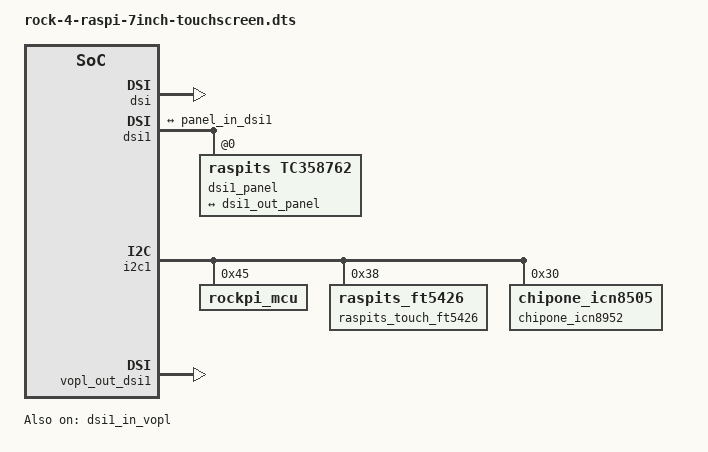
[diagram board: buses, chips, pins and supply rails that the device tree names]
/dts-v1/;
/plugin/;

/ {
	metadata {
		title = "Enable Raspberry Pi 7-inch Touchscreen";
		compatible = "radxa,rockpi4a", "radxa,rockpi4b", "radxa,rockpi4c", "radxa,rockpi4a-plus", "radxa,rockpi4b-plus", "radxa,rock-4se";
		category = "display";
		exclusive = "dsi1";
		description = "Enable Raspberry Pi 7-inch Touchscreen";
	};
};

&dsi {
	dsi1-only;
	status = "okay";
};

&dsi1 {
	rockchip,dsi-dsi0 = <&dsi>;
	status = "okay";
	#address-cells = <1>;
	#size-cells = <0>;
	rockchip,lane-rate = <696>;

	dsi1_panel: dsi-panel@0 {
		compatible = "raspits,tc358762";
		reg = <0x0>;
		status = "okay";

		display_timings0: display-timings {
			native-mode = <&dsi0_timing>;

			dsi0_timing: timing0 {
				clock-frequency = <26000000>;
				hactive = <800>;
				vactive = <480>;

				hsync-len = <5>;
				hback-porch = <40>;
				hfront-porch = <1>;

				vsync-len = <1>;
				vback-porch = <21>;
				vfront-porch = <7>;

				hsync-active = <0>;
				vsync-active = <0>;
				de-active = <0>;
				pixelclk-active = <0>;
			};
		};

		ports {
			#address-cells = <1>;
			#size-cells = <0>;

			port@0 {
				reg = <0>;
				panel_in_dsi1: endpoint {
					remote-endpoint = <&dsi1_out_panel>;
				};
			};
		};
	};

	ports {
		#address-cells = <1>;
		#size-cells = <0>;

		port@1 {
			reg = <1>;
			#address-cells = <1>;
			#size-cells = <0>;

			dsi1_out_panel: endpoint@0 {
				reg = <0>;
				remote-endpoint = <&panel_in_dsi1>;
			};
		};
	};
};

&i2c1 {
	status = "okay";
	#address-cells = <1>;
	#size-cells = <0>;

	rockpi_mcu: rockpi-mcu@45 {
		compatible = "rockpi_mcu";
		reg = <0x45>;
	};

	raspits_touch_ft5426: raspits-touch-ft5426@38 {
		compatible = "raspits_ft5426";
		reg = <0x38>;
	};

	chipone_icn8952: chipone_icn8952@30 {
		compatible = "chipone_icn8505";
		reg = <0x30>;
	};
};

&vopl_out_dsi1 {
	status = "okay";
};

&dsi1_in_vopb {
	status = "disabled";
};

&dsi1_in_vopl {
	status = "okay";
};

&route_dsi {
	status = "disabled";
	connect = <&vopl_out_dsi>;
};
